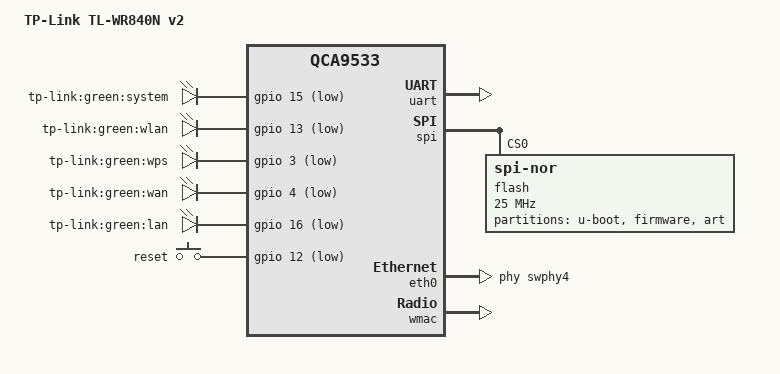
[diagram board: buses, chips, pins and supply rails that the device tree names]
// SPDX-License-Identifier: GPL-2.0-or-later OR MIT

/dts-v1/;

#include <dt-bindings/gpio/gpio.h>
#include <dt-bindings/input/input.h>

#include "qca953x.dtsi"

/ {
    compatible = "tplink,tl-wr840n-v2", "qca,qca9533";
    model = "TP-Link TL-WR840N v2";

    aliases {
        led-boot = &system_led;
        led-failsafe = &system_led;
        led-running = &system_led;
        led-upgrade = &system_led;
    };

    leds {
        compatible = "gpio-leds";

        system_led: system {
            label = "tp-link:green:system";
            gpios = <&gpio 15 GPIO_ACTIVE_LOW>;
        };

        wifi {
            label = "tp-link:green:wlan";
            gpios = <&gpio 13 GPIO_ACTIVE_LOW>;
            linux,default-trigger = "phy0tpt";
        };

        wps {
            label = "tp-link:green:wps";
            gpios = <&gpio 3 GPIO_ACTIVE_LOW>;
        };

        wan {
            label = "tp-link:green:wan";
            gpios = <&gpio 4 GPIO_ACTIVE_LOW>;
        };

        lan {
            label = "tp-link:green:lan";
            gpios = <&gpio 16 GPIO_ACTIVE_LOW>;
        };
    };

    keys {
        compatible = "gpio-keys";

        reset {
            label = "reset";
            linux,code = <KEY_RESTART>;
            gpios = <&gpio 12 GPIO_ACTIVE_LOW>;
            debounce-interval = <60>;
        };
    };
};

&uart {
	status = "okay";
};

&spi {
	status = "okay";
	num-cs = <1>;

	flash@0 {
		compatible = "jedec,spi-nor";
		reg = <0>;
		spi-max-frequency = <25000000>;

		partitions {
			compatible = "fixed-partitions";
			#address-cells = <1>;
			#size-cells = <1>;

			uboot:	partition@0 {
				label = "u-boot";
				reg = <0x000000 0x020000>;
				read-only;
			};

			partition@20000 {
				compatible = "tplink,firmware";
				label = "firmware";
				reg = <0x020000 0x3d0000>;
			};

			art: partition@3f0000 {
				label = "art";
				reg = <0x3f0000 0x010000>;
				read-only;
			};
		};
	};
};

&eth1 {
	mtd-mac-address = <&uboot 0x1fc00>;
};

&eth0 {
	status = "okay";
	phy-handle = <&swphy4>;

	mtd-mac-address = <&uboot 0x1fc00>;
	mtd-mac-address-increment = <1>;
};

&wmac {
	status = "okay";
	mtd-cal-data = <&art 0x1000>;
	mtd-mac-address = <&uboot 0x1fc00>;
};
